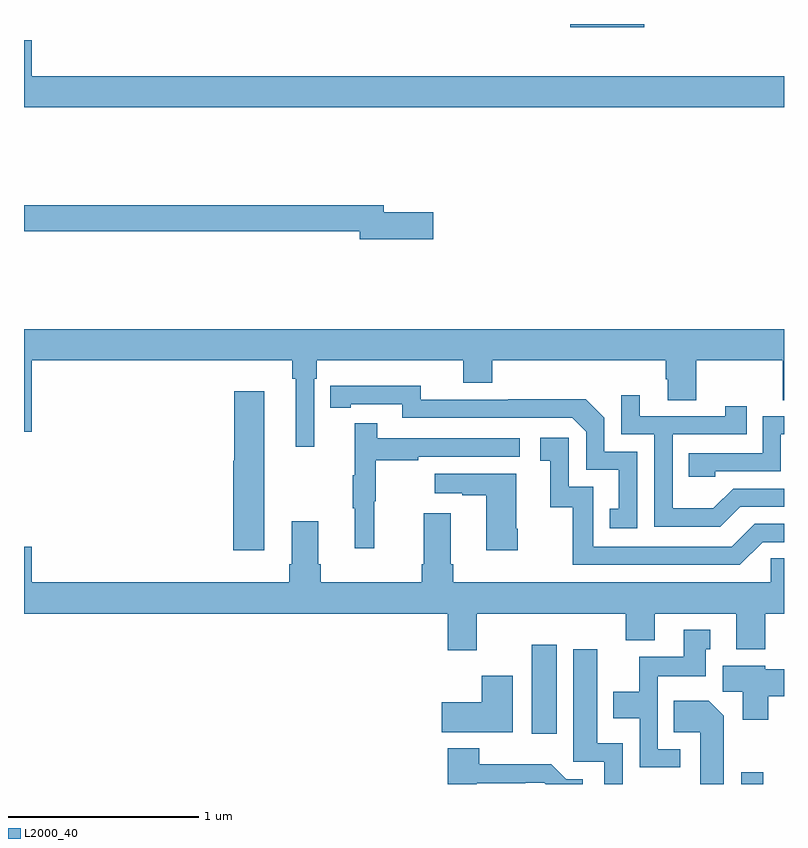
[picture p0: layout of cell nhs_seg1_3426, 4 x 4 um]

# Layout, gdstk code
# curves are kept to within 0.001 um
import gdstk
lib = gdstk.Library(unit=1e-6, precision=1e-09)
def R(c, l, rs):  # rectangles x0, y0, x1, y1
    for r in rs: c.add(gdstk.rectangle(r[:2], r[2:], *l))
def P(c, l, *ps):  # polygons
    for p in ps: c.add(gdstk.Polygon(p, *l))
L2000_40 = (2000, 40)

nhs_seg1_3426 = lib.new_cell('nhs_seg1_3426')
R(nhs_seg1_3426, L2000_40, [(300.774,520.199,300.89,520.261), (299.672,520.464,299.803,520.933), (299.876,524.183,300.265,524.199)])
P(nhs_seg1_3426, L2000_40, [(301,523.924),(297.04,523.924),(297.04,524.113),(297,524.113),(297,523.76),(301,523.76)],
  [(299.155,523.208),(298.894,523.208),(298.894,523.244),(297,523.244),(297,523.108),(298.766,523.108),(298.766,523.066),(299.155,523.066)],
  [(298.527,522.332),(298.541,522.332),(298.541,522.428),(299.312,522.428),(299.312,522.311),(299.465,522.311),(299.465,522.428),(300.377,522.428),(300.377,522.33),(300.389,522.33),(300.389,522.22),(300.537,522.22),(300.537,522.428),(300.994,522.428),(300.994,522.22),(301,522.22),(301,522.592),(297,522.592),(297,522.054),(297.04,522.054),(297.04,522.428),(298.411,522.428),(298.411,522.332),(298.43,522.332),(298.43,521.973),(298.527,521.973)],
  [(300.228,521.949),(300.054,521.949),(300.054,522.126),(299.956,522.224),(299.548,522.224),(299.548,522.222),(299.088,522.222),(299.088,522.295),(298.612,522.294),(298.612,522.178),(298.72,522.178),(298.72,522.198),(298.992,522.198),(298.992,522.126),(299.886,522.126),(299.958,522.054),(299.958,521.853),(300.131,521.853),(300.131,521.649),(300.082,521.649),(300.082,521.544),(300.228,521.544)],
  [(298.264,522.265),(298.106,522.265),(298.106,521.901),(298.1,521.901),(298.1,521.43),(298.264,521.43)],
  [(300.769,521.658),(301,521.658),(301,521.754),(300.732,521.754),(300.628,521.65),(300.414,521.65),(300.414,522.039),(300.803,522.039),(300.803,522.187),(300.692,522.187),(300.692,522.135),(300.241,522.135),(300.241,522.246),(300.144,522.246),(300.144,522.039),(300.318,522.039),(300.318,521.553),(300.664,521.553)],
  [(300.639,521.844),(300.984,521.844),(300.984,522.039),(301,522.039),(301,522.135),(300.888,522.135),(300.888,521.94),(300.499,521.94),(300.499,521.817),(300.639,521.817)],
  [(298.844,521.688),(298.852,521.688),(298.852,521.902),(299.075,521.902),(299.075,521.922),(299.608,521.922),(299.608,522.018),(298.859,522.018),(298.859,522.097),(298.742,522.097),(298.742,521.825),(298.731,521.825),(298.731,521.651),(298.742,521.651),(298.742,521.439),(298.844,521.439)],
  [(300.888,521.472),(301,521.472),(301,521.568),(300.846,521.568),(300.726,521.448),(299.997,521.448),(299.997,521.763),(299.868,521.763),(299.868,522.022),(299.718,522.022),(299.718,521.901),(299.771,521.901),(299.771,521.655),(299.889,521.655),(299.889,521.352),(300.768,521.352)],
  [(299.598,521.542),(299.59,521.542),(299.59,521.833),(299.163,521.833),(299.163,521.729),(299.306,521.729),(299.306,521.719),(299.432,521.719),(299.432,521.43),(299.598,521.43)],
  [(297,521.449),(297,521.096),(299.231,521.096),(299.231,520.902),(299.383,520.902),(299.383,521.096),(300.167,521.096),(300.167,520.955),(300.319,520.955),(300.319,521.096),(300.749,521.096),(300.749,520.907),(300.902,520.907),(300.902,521.096),(301,521.096),(301,521.387),(300.93,521.387),(300.93,521.26),(299.258,521.26),(299.258,521.356),(299.245,521.356),(299.245,521.623),(299.105,521.623),(299.105,521.356),(299.093,521.356),(299.093,521.26),(298.562,521.26),(298.562,521.356),(298.549,521.356),(298.549,521.581),(298.409,521.581),(298.409,521.356),(298.397,521.356),(298.397,521.26),(297.04,521.26),(297.04,521.449)],
  [(300.454,520.383),(300.336,520.383),(300.336,520.766),(300.589,520.766),(300.589,520.908),(300.613,520.908),(300.613,521.011),(300.473,521.011),(300.473,520.87),(300.238,520.87),(300.238,520.684),(300.101,520.684),(300.101,520.544),(300.24,520.544),(300.24,520.287),(300.454,520.287)],
  [(300.15,520.414),(300.016,520.414),(300.016,520.909),(299.891,520.909),(299.891,520.317),(300.054,520.317),(300.054,520.199),(300.15,520.199)],
  [(300.917,520.661),(301,520.661),(301,520.803),(300.9,520.803),(300.9,520.822),(300.677,520.822),(300.677,520.684),(300.782,520.684),(300.782,520.536),(300.917,520.536)],
  [(299.572,520.77),(299.408,520.77),(299.408,520.63),(299.199,520.63),(299.199,520.472),(299.572,520.472)],
  [(300.682,520.558),(300.604,520.636),(300.421,520.636),(300.421,520.472),(300.56,520.472),(300.56,520.199),(300.682,520.199)],
  [(299.383,520.203),(299.639,520.203),(299.639,520.206),(299.738,520.206),(299.745,520.199),(299.941,520.199),(299.941,520.224),(299.853,520.224),(299.775,520.303),(299.396,520.303),(299.396,520.387),(299.231,520.387),(299.231,520.199),(299.383,520.199)])

lib.write_gds('nhs_seg1_3426.gds')
